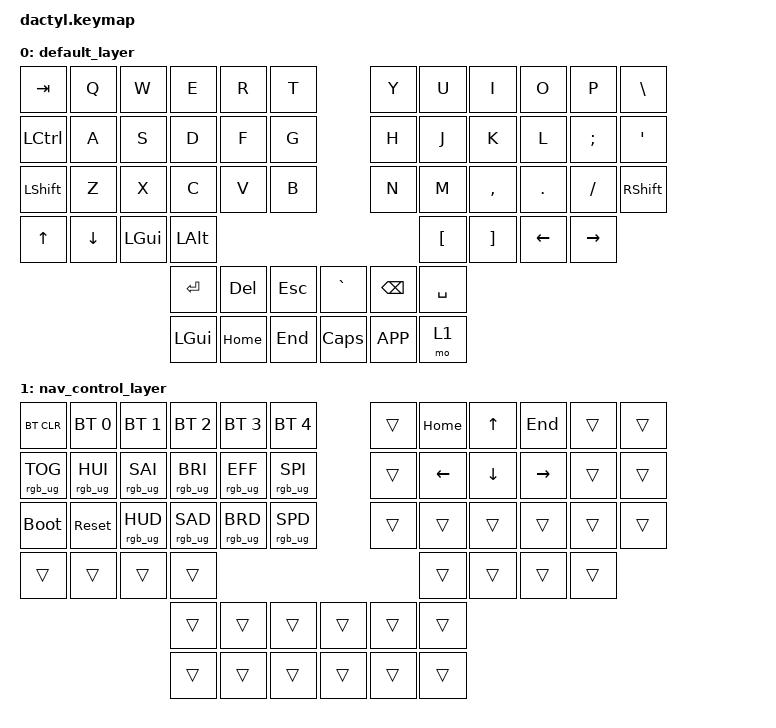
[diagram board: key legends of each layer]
// Dactyl Manuform (letters only) keymap.
//
// Ported from the wired vial-qmk default
// (keyboards/cyboard/dactyl/manuform_letters_only): the base layer is
// identical key-for-key, and layer 1 keeps the vial nav arrows on the right
// hand while adding wireless "niceties" on the left hand (BT profile
// select, RGB control, reset/bootloader) now that the board is wireless.
//
// In dongle mode this keymap is inert on the halves (they are peripherals);
// the operative copy lives on the dongle (dactyl_dongle.keymap). Kept in
// sync with it.

#include <behaviors.dtsi>
#include <dt-bindings/zmk/bt.h>
#include <dt-bindings/zmk/keys.h>
#include <dt-bindings/zmk/rgb.h>

/ {
    keymap {
        compatible = "zmk,keymap";

        default_layer {
            bindings = <
&kp TAB    &kp Q     &kp W     &kp E     &kp R     &kp T                 &kp Y      &kp U     &kp I      &kp O     &kp P     &kp BSLH
&kp LCTRL  &kp A     &kp S     &kp D     &kp F     &kp G                 &kp H      &kp J     &kp K      &kp L     &kp SEMI  &kp SQT
&kp LSHFT  &kp Z     &kp X     &kp C     &kp V     &kp B                 &kp N      &kp M     &kp COMMA  &kp DOT   &kp FSLH  &kp RSHFT
&kp UP     &kp DOWN  &kp LGUI  &kp LALT                                             &kp LBKT  &kp RBKT   &kp LEFT  &kp RIGHT
                               &kp RET   &kp DEL   &kp ESC     &kp GRAVE  &kp BSPC  &kp SPACE
                               &kp LGUI  &kp HOME  &kp END     &kp CAPS   &kp K_APP &mo 1
            >;
        };

        nav_control_layer {
            bindings = <
&bt BT_CLR       &bt BT_SEL 0     &bt BT_SEL 1     &bt BT_SEL 2     &bt BT_SEL 3     &bt BT_SEL 4                &trans  &kp HOME  &kp UP    &kp END    &trans  &trans
&rgb_ug RGB_TOG  &rgb_ug RGB_HUI  &rgb_ug RGB_SAI  &rgb_ug RGB_BRI  &rgb_ug RGB_EFF  &rgb_ug RGB_SPI             &trans  &kp LEFT  &kp DOWN  &kp RIGHT  &trans  &trans
&bootloader      &sys_reset       &rgb_ug RGB_HUD  &rgb_ug RGB_SAD  &rgb_ug RGB_BRD  &rgb_ug RGB_SPD             &trans  &trans    &trans    &trans     &trans  &trans
&trans           &trans           &trans           &trans                                                                &trans    &trans    &trans     &trans
                                                    &trans           &trans           &trans      &trans  &trans  &trans
                                                    &trans           &trans           &trans      &trans  &trans  &trans
            >;
        };
    };
};
